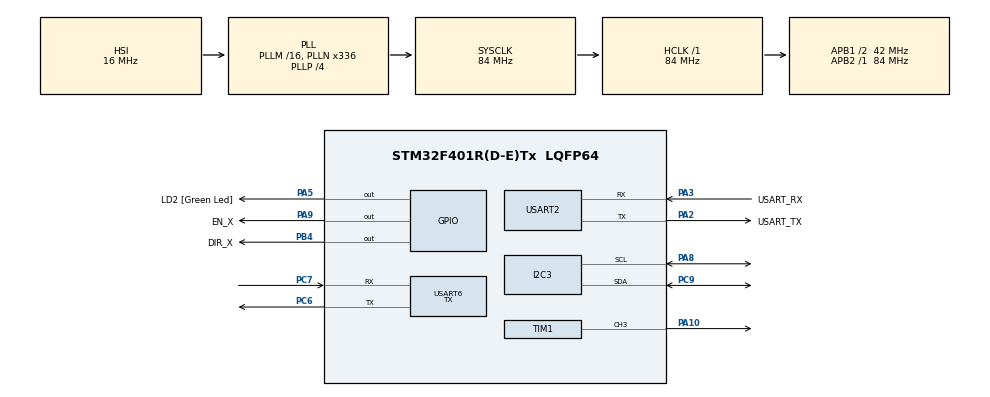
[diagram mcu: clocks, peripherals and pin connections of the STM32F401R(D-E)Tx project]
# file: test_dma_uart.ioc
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Dma.Request0=USART2_RX
Dma.USART2_RX.0.Direction=DMA_PERIPH_TO_MEMORY
Dma.USART2_RX.0.FIFOMode=DMA_FIFOMODE_DISABLE
Dma.USART2_RX.0.Instance=DMA1_Stream5
Dma.USART2_RX.0.MemDataAlignment=DMA_MDATAALIGN_BYTE
Dma.USART2_RX.0.MemInc=DMA_MINC_ENABLE
Dma.USART2_RX.0.Mode=DMA_CIRCULAR
Dma.USART2_RX.0.PeriphDataAlignment=DMA_PDATAALIGN_BYTE
Dma.USART2_RX.0.PeriphInc=DMA_PINC_DISABLE
Dma.USART2_RX.0.Priority=DMA_PRIORITY_HIGH
FREERTOS.Tasks01=defaultTask,-3,128,StartDefaultTask,Default,NULL,Dynamic,NULL,NULL;Parser_task,0,128,Start_Parser_task,Default,NULL,Dynamic,NULL,NULL;Encoder_task,-1,128,Start_Encoder_task,Default,NULL,Dynamic,NULL,NULL
FREERTOS.configUSE_NEWLIB_REENTRANT=1
I2C3.NoStretchMode=I2C_NOSTRETCH_DISABLE
Mcu.Family=STM32F4
Mcu.Name=STM32F401R(D-E)Tx
Mcu.Package=LQFP64
NVIC.DMA1_Stream5_IRQn=true\:5\:0\:false\:false\:true\:true\:false\:true\:true
NVIC.PriorityGroup=NVIC_PRIORITYGROUP_4
NVIC.TIM1_TRG_COM_TIM11_IRQn=true\:5\:0\:false\:false\:true\:false\:true\:true\:true
NVIC.TIM1_UP_TIM10_IRQn=true\:5\:0\:false\:false\:true\:true\:true\:true\:true
NVIC.TIM3_IRQn=true\:15\:0\:false\:false\:true\:false\:false\:true\:true
NVIC.TimeBase=TIM3_IRQn
NVIC.TimeBaseIP=TIM3
NVIC.USART2_IRQn=true\:5\:0\:false\:false\:true\:true\:true\:true\:true
PA10.GPIO_Speed=GPIO_SPEED_FREQ_HIGH
PA10.Signal=S_TIM1_CH3
PA2.GPIO_Label=USART_TX
PA2.GPIO_Mode=GPIO_MODE_AF_PP
PA2.GPIO_PuPd=GPIO_NOPULL
PA2.GPIO_Speed=GPIO_SPEED_FREQ_LOW
PA2.Mode=Asynchronous
PA2.Signal=USART2_TX
PA3.GPIO_Label=USART_RX
PA3.GPIO_Mode=GPIO_MODE_AF_PP
PA3.GPIO_PuPd=GPIO_NOPULL
PA3.GPIO_Speed=GPIO_SPEED_FREQ_LOW
PA3.Mode=Asynchronous
PA3.Signal=USART2_RX
PA5.GPIO_Label=LD2 [Green Led]
PA5.GPIO_Mode=GPIO_MODE_OUTPUT_PP
PA5.GPIO_PuPd=GPIO_NOPULL
PA5.GPIO_Speed=GPIO_SPEED_FREQ_LOW
PA5.Signal=GPIO_Output
PA8.GPIO_Pu=GPIO_PULLUP
PA8.Mode=I2C
PA8.Signal=I2C3_SCL
PA9.GPIO_Label=EN_X
PA9.Signal=GPIO_Output
PB4.GPIO_Label=DIR_X
PB4.Signal=GPIO_Output
PC6.Mode=Asynchronous
PC6.Signal=USART6_TX
PC7.Mode=Asynchronous
PC7.Signal=USART6_RX
PC9.GPIO_Pu=GPIO_PULLUP
PC9.Mode=I2C
PC9.Signal=I2C3_SDA
ProjectManager.HeapSize=0x200
ProjectManager.StackSize=0x400
ProjectManager.TargetToolchain=STM32CubeIDE
RCC.48MHZClocksFreq_Value=48000000
RCC.AHBFreq_Value=84000000
RCC.APB1CLKDivider=RCC_HCLK_DIV2
RCC.APB1Freq_Value=42000000
RCC.APB1TimFreq_Value=84000000
RCC.APB2Freq_Value=84000000
RCC.APB2TimFreq_Value=84000000
RCC.CortexFreq_Value=84000000
RCC.HCLKFreq_Value=84000000
RCC.HSE_VALUE=8000000
RCC.HSI_VALUE=16000000
RCC.LSE_VALUE=32768
RCC.PLLN=336
RCC.PLLP=RCC_PLLP_DIV4
RCC.PLLQ=7
RCC.SYSCLKFreq_VALUE=84000000
RCC.SYSCLKSource=RCC_SYSCLKSOURCE_PLLCLK
RCC.VCOOutputFreq_Value=336000000
SH.S_TIM1_CH3.0=TIM1_CH3,PWM Generation3 CH3
TIM1.AutoReloadPreload=TIM_AUTORELOAD_PRELOAD_ENABLE
TIM1.Channel-PWM\ Generation3\ CH3=TIM_CHANNEL_3
TIM1.OC3Preload_PWM=ENABLE
TIM1.OCFastMode_PWM-PWM\ Generation3\ CH3=TIM_OCFAST_DISABLE
TIM1.OCPolarity_3=TIM_OCPOLARITY_HIGH
TIM1.Prescaler=84
TIM1.Pulse-PWM\ Generation3\ CH3=32767
TIM1.TIM_MasterOutputTrigger=TIM_TRGO_RESET
TIM1.TIM_MasterSlaveMode=TIM_MASTERSLAVEMODE_DISABLE
USART2.VirtualMode=VM_ASYNC
USART6.Mode=MODE_TX
USART6.VirtualMode=VM_ASYNC
VP_FREERTOS_VS_CMSIS_V1.Mode=CMSIS_V1
VP_SYS_VS_tim3.Mode=TIM3
VP_TIM1_VS_ClockSourceINT.Mode=Internal
board=NUCLEO-F401RE

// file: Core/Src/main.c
/* USER CODE BEGIN Header */
/**
  ******************************************************************************
  * @file           : main.c
  * @brief          : Main program body
  ******************************************************************************
  * @attention
  *
  * Copyright (c) 2026 STMicroelectronics.
  * All rights reserved.
  *
  * This software is licensed under terms that can be found in the LICENSE file
  * in the root directory of this software component.
  * If no LICENSE file comes with this software, it is provided AS-IS.
  *
  ******************************************************************************
  */
/* USER CODE END Header */
#include "main.h"
#include "cmsis_os.h"
#include "dma.h"
#include "i2c.h"
#include "tim.h"
#include "usart.h"
#include "gpio.h"

/* USER CODE BEGIN Includes */
#include <stdarg.h>
#include <stdio.h>
#include <ctype.h>
#include "stdlib.h"
#include "string.h"
#include "stepper.h"
#include "gcode_rx.h"
/* USER CODE END Includes */

/* USER CODE BEGIN PTD */
uint8_t rx_buf[BUF_SIZE];
volatile uint16_t rx_head = 0;
static uint16_t old_dma_pos = 0;
/* USER CODE END PTD */

void SystemClock_Config(void);
void MX_FREERTOS_Init(void);

/* USER CODE BEGIN 0 */
int _write(int file, char *ptr, int len)
{
    HAL_UART_Transmit(&huart6, (uint8_t*)ptr, len, HAL_MAX_DELAY);
    return len;
}

void printf2(const char *fmt, ...)
{
    char buffer[256];
    va_list args;
    va_start(args, fmt);
    int len = vsnprintf(buffer, sizeof(buffer), fmt, args);
    va_end(args);

    if (len > 0) {
        HAL_UART_Transmit(&huart2, (uint8_t*)buffer, len, HAL_MAX_DELAY);
    }
}

//void HAL_TIM_PulseFinishedCallback(TIM_HandleTypeDef *htim)
//{
//	if (htim == motor.htim) {
//		Stepper_Tick(&motor);
//	}
//}
/* USER CODE END 0 */

int main(void)
{

  /* MCU Configuration--------------------------------------------------------*/

  /* Reset of all peripherals, Initializes the Flash interface and the Systick. */
  HAL_Init();

  /* Configure the system clock */
  SystemClock_Config();

  /* Initialize all configured peripherals */
  MX_GPIO_Init();
  MX_DMA_Init();
  MX_USART2_UART_Init();
  MX_USART6_UART_Init();
  MX_I2C3_Init();
  MX_TIM1_Init();
  /* USER CODE BEGIN 2 */
  printf("\rSTART\r\n");
  printf2("UART_2_START\r\n");
  HAL_UARTEx_ReceiveToIdle_DMA(&huart2, rx_buf, BUF_SIZE);
  __HAL_DMA_DISABLE_IT(huart2.hdmarx, DMA_IT_HT);
  /* USER CODE END 2 */

  /* Call init function for freertos objects (in cmsis_os2.c) */
  MX_FREERTOS_Init();

  /* Start scheduler */
  osKernelStart();

  /* We should never get here as control is now taken by the scheduler */

  /* Infinite loop */
  while (1)
  {

  }
}

void SystemClock_Config(void)
{
  RCC_OscInitTypeDef RCC_OscInitStruct = {0};
  RCC_ClkInitTypeDef RCC_ClkInitStruct = {0};

  /** Configure the main internal regulator output voltage
  */
  __HAL_RCC_PWR_CLK_ENABLE();
  __HAL_PWR_VOLTAGESCALING_CONFIG(PWR_REGULATOR_VOLTAGE_SCALE2);

  /** Initializes the RCC Oscillators according to the specified parameters
  * in the RCC_OscInitTypeDef structure.
  */
  RCC_OscInitStruct.OscillatorType = RCC_OSCILLATORTYPE_HSI;
  RCC_OscInitStruct.HSIState = RCC_HSI_ON;
  RCC_OscInitStruct.HSICalibrationValue = RCC_HSICALIBRATION_DEFAULT;
  RCC_OscInitStruct.PLL.PLLState = RCC_PLL_ON;
  RCC_OscInitStruct.PLL.PLLSource = RCC_PLLSOURCE_HSI;
  RCC_OscInitStruct.PLL.PLLM = 16;
  RCC_OscInitStruct.PLL.PLLN = 336;
  RCC_OscInitStruct.PLL.PLLP = RCC_PLLP_DIV4;
  RCC_OscInitStruct.PLL.PLLQ = 7;
  if (HAL_RCC_OscConfig(&RCC_OscInitStruct) != HAL_OK)
  {
    Error_Handler();
  }

  /** Initializes the CPU, AHB and APB buses clocks
  */
  RCC_ClkInitStruct.ClockType = RCC_CLOCKTYPE_HCLK|RCC_CLOCKTYPE_SYSCLK
                              |RCC_CLOCKTYPE_PCLK1|RCC_CLOCKTYPE_PCLK2;
  RCC_ClkInitStruct.SYSCLKSource = RCC_SYSCLKSOURCE_PLLCLK;
  RCC_ClkInitStruct.AHBCLKDivider = RCC_SYSCLK_DIV1;
  RCC_ClkInitStruct.APB1CLKDivider = RCC_HCLK_DIV2;
  RCC_ClkInitStruct.APB2CLKDivider = RCC_HCLK_DIV1;

  if (HAL_RCC_ClockConfig(&RCC_ClkInitStruct, FLASH_LATENCY_2) != HAL_OK)
  {
    Error_Handler();
  }
}

/* USER CODE BEGIN 4 */
void HAL_UARTEx_RxEventCallback(UART_HandleTypeDef *huart, uint16_t Size)
{
    if (huart->Instance == USART2)
    {
//        HAL_UART_Transmit(&huart6, rx_buf, Size, HAL_MAX_DELAY);
    	uint16_t dma_pos = BUF_SIZE - __HAL_DMA_GET_COUNTER(huart->hdmarx);

		if (dma_pos != old_dma_pos)
		{
			if (dma_pos > old_dma_pos)
			{
				/* Linear copy */
				gcode_rx_push(&rx_buf[old_dma_pos], dma_pos - old_dma_pos);
			}
			else
			{
				/* Wrapped around */
				gcode_rx_push(&rx_buf[old_dma_pos], BUF_SIZE - old_dma_pos);
				if (dma_pos > 0)
					gcode_rx_push(&rx_buf[0], dma_pos);
			}

			old_dma_pos = dma_pos;
		}

		/* restart RX */
		HAL_UARTEx_ReceiveToIdle_DMA(&huart2, rx_buf, BUF_SIZE);
		__HAL_DMA_DISABLE_IT(huart2.hdmarx, DMA_IT_HT);
    }
}
/* USER CODE END 4 */

void HAL_TIM_PeriodElapsedCallback(TIM_HandleTypeDef *htim)
{
  /* USER CODE BEGIN Callback 0 */
  if (htim->Instance == TIM1) {
    Stepper_Tick(&motor);
  }

  /* USER CODE END Callback 0 */
  if (htim->Instance == TIM3) {
    HAL_IncTick();
  }
}

void Error_Handler(void)
{
  __disable_irq();
  while (1)
  {
  }
}

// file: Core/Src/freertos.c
/* USER CODE BEGIN Header */
/**
  ******************************************************************************
  * File Name          : freertos.c
  * Description        : Code for freertos applications
  ******************************************************************************
  * @attention
  *
  * Copyright (c) 2026 STMicroelectronics.
  * All rights reserved.
  *
  * This software is licensed under terms that can be found in the LICENSE file
  * in the root directory of this software component.
  * If no LICENSE file comes with this software, it is provided AS-IS.
  *
  ******************************************************************************
  */
/* USER CODE END Header */

#include "FreeRTOS.h"
#include "task.h"
#include "main.h"
#include "cmsis_os.h"

/* USER CODE BEGIN Includes */
#include <ctype.h>
#include <stdlib.h>
#include <string.h>
#include <stdio.h>
#include "gcode_rx.h"
#include "usart.h"
#include "as5600_hal.h"
#include "stepper.h"
#include "tim.h"
/* USER CODE END Includes */

/* USER CODE BEGIN Variables */
extern Stepper_t motor;

uint16_t raw;
extern volatile int16_t rotations;
volatile uint16_t hope;
float angle;

static float current_x = 0.0f;
static float feedrate0 = 1000.0f;
static float feedrate1 = 1000.0f;
static float acceleration = 1000.0f;      // mm/s^2 default
static bool absolute_mode = true;  // G90 = true, G91 = false
static float steps_per_mm = 6400.0/360.0f; // one mm <==> one deg
static float inactivity_time = 0.0f; // inactivity time in seconds
static uint32_t idle_time = 0;

/* USER CODE END Variables */
osThreadId defaultTaskHandle;
osThreadId Parser_taskHandle;
osThreadId Encoder_taskHandle;

/* USER CODE BEGIN FunctionPrototypes */
void print_pos()
{
	hope = (int16_t)((float)motor.currPos)*ENCODER_RESOLUTION/FULL_REVOLUTION;
	hope = hope%ENCODER_RESOLUTION;
	int16_t curpos = motor.currPos;
	if(hope < 0)
	{
		hope += ENCODER_RESOLUTION;
	}
//	printf("rot %d  ", rotations);
//	printf("enc %u  ", raw);
//	printf("hope %u  ", hope);
//    printf("pos %d\n", curpos);
}
/* USER CODE END FunctionPrototypes */

void StartDefaultTask(void const * argument);
void Start_Parser_task(void const * argument);
void Start_Encoder_task(void const * argument);

void MX_FREERTOS_Init(void); /* (MISRA C 2004 rule 8.1) */

/* GetIdleTaskMemory prototype (linked to static allocation support) */
void vApplicationGetIdleTaskMemory( StaticTask_t **ppxIdleTaskTCBBuffer, StackType_t **ppxIdleTaskStackBuffer, uint32_t *pulIdleTaskStackSize );

/* USER CODE BEGIN GET_IDLE_TASK_MEMORY */
static StaticTask_t xIdleTaskTCBBuffer;
static StackType_t xIdleStack[configMINIMAL_STACK_SIZE];

void vApplicationGetIdleTaskMemory( StaticTask_t **ppxIdleTaskTCBBuffer, StackType_t **ppxIdleTaskStackBuffer, uint32_t *pulIdleTaskStackSize )
{
  *ppxIdleTaskTCBBuffer = &xIdleTaskTCBBuffer;
  *ppxIdleTaskStackBuffer = &xIdleStack[0];
  *pulIdleTaskStackSize = configMINIMAL_STACK_SIZE;
  /* place for user code */
}
/* USER CODE END GET_IDLE_TASK_MEMORY */

void MX_FREERTOS_Init(void) {

  /* Create the thread(s) */
  /* definition and creation of defaultTask */
  osThreadDef(defaultTask, StartDefaultTask, osPriorityIdle, 0, 128);
  defaultTaskHandle = osThreadCreate(osThread(defaultTask), NULL);

  /* definition and creation of Parser_task */
  osThreadDef(Parser_task, Start_Parser_task, osPriorityNormal, 0, 128);
  Parser_taskHandle = osThreadCreate(osThread(Parser_task), NULL);

  /* definition and creation of Encoder_task */
  osThreadDef(Encoder_task, Start_Encoder_task, osPriorityBelowNormal, 0, 128);
  Encoder_taskHandle = osThreadCreate(osThread(Encoder_task), NULL);

}

void StartDefaultTask(void const * argument)
{
  for(;;)
  {
    osDelay(1);
  }
}

void Start_Parser_task(void const * argument)
{
  /* USER CODE BEGIN Start_Parser_task */

  uint8_t c;
  static char line[96];
  static uint8_t idx = 0;

	void wait_for_stop()
	{
		while(motor.moving){
		  osDelay(10);
		}
	}

	int32_t get_diff()
	{
		int32_t diff = (motor.targetPos - motor.currPos);
		if(diff < 0){diff = -diff;}
		return diff;
	}

	void goto_enc(int32_t target_pos)
	{
		motor.targetPos = target_pos;
		Stepper_get_enc_pos(&motor, &raw);
		int32_t diff = get_diff();
		while(diff > 2)
		{
			print_pos();
			Stepper_MoveTo(&motor, target_pos);
			wait_for_stop();
			print_pos();
			Stepper_get_enc_pos(&motor, &raw);
			print_pos();
			diff = get_diff();
		}
	}

	void demo()
	{
		Stepper_SetSpeed(&motor, 10000);
		Stepper_SetAcceleration(&motor, 200000, 200000);
		int32_t demo_pos = 800;
		for (int i = 0; i < 8; i++)
		{
			goto_enc(demo_pos*(i+1));
			osDelay(200);
		}
		goto_enc(0);
		osDelay(200);
		Stepper_SetSpeed(&motor, 50000);
		goto_enc(64000);
		osDelay(200);
		goto_enc(0);
	}

	void process_gcode_line(char *line)
	{
	    char *p = line;

	    /* Strip comments */
	    for (char *c = line; *c; c++)
	    {
	        if (*c == ';' || *c == '(')
	        {
	            *c = '\0';
	            break;
	        }
	    }

	    if (*p == 'D' && *(p+1) == 'E' && *(p+2) == 'M' && *(p+3) == 'O')
	    {
	    	demo();
	    	return;
	    }

	    while (isspace((unsigned char)*p)) p++;
	    if (*p == '\0')
	        return;

	    int gcode = -1;
	    int mcode = -1;
	    bool has_x = false;
	    bool has_f = false;
	    bool has_s = false;
	    float x_value = 0.0f;
	    float f_value = 0.0f;
	    float s_value = 0.0f;

	    /* Token parsing */
	    while (*p)
	    {
	        if (*p == 'G' || *p == 'g')
	        {
	            p++;
	            gcode = strtol(p, &p, 10);
	        }
	        if (*p == 'M' || *p == 'm')
			{
				p++;
				mcode = strtol(p, &p, 10);
			}
	        else if (*p == 'X' || *p == 'x')
	        {
	            p++;
	            x_value = strtof(p, &p);
	            has_x = true;
	        }
	        else if (*p == 'F' || *p == 'f')
	        {
	            p++;
	            f_value = strtof(p, &p);
	            has_f = true;
	        }
	        else if (*p == 'S' || *p == 's')
	        {
	            p++;
	            s_value = strtof(p, &p);
	            has_s = true;
	        }
	        else
	        {
	            p++;
	        }
	    }

	    switch (gcode)
	    {
	        case 0: /* G0 */
	    	    /* Feedrate is modal */
	    	    if (has_f && f_value > 0.0f)
	    	        feedrate0 = f_value;

	            if (has_x)
	            {
	                float target = absolute_mode ? x_value*steps_per_mm : (current_x + x_value*steps_per_mm);
//	                motion_move_x(target, feedrate);
	                Stepper_SetSpeed(&motor, feedrate0);
	                goto_enc((int32_t)target);
	                current_x = target;
	            }
	            break;

	        case 1: /* G1 */
	    	    /* Feedrate is modal */
	    	    if (has_f && f_value > 0.0f)
	    	        feedrate1 = f_value;

	            if (has_x)
	            {
	                float target = absolute_mode ? x_value*steps_per_mm : (current_x + x_value*steps_per_mm);
//	                motion_move_x(target, feedrate);
	                Stepper_SetSpeed(&motor, feedrate1);
	                goto_enc((int32_t)target);
	                current_x = target;
	            }
	            break;

	        case 28: /* G28 */
	            goto_enc(0);
	            current_x = 0.0f;
	            break;

	        case 90: /* G90 */
	            absolute_mode = true;
	            break;

	        case 91: /* G91 */
	            absolute_mode = false;
	            break;

	        default:
	            break;
	    }

	    switch (mcode)
	    {
			case 80: /* M80 power on*/
				Stepper_Enable(&motor);
				break;

			case 81: /* M81 power on*/
				Stepper_Disable(&motor);
				break;

			case 85: /* M85 inactivity shutdown period */
				if (has_s && s_value >= 0.0f)
				{
					inactivity_time = s_value;
				}
				break;

	    	case 92: /* M92 set steps per mm*/
				if (has_x)
				{
					if (x_value < 1)
						x_value = 1;
					steps_per_mm = x_value;
				}
				break;

	        case 204: /* M204 - Set acceleration */
	            if (has_s && s_value > 0.0f)
	            {
	                acceleration = s_value;
	                Stepper_SetAcceleration(&motor, acceleration, acceleration);
	            }
	            break;

	        default:
	        	break;
	    }
	}

	motor.DIR_Port  = GPIOB;
	motor.DIR_Pin   = GPIO_PIN_4;
	motor.EN_Port   = GPIOA;
	motor.EN_Pin    = GPIO_PIN_9;
	motor.htim      = &htim1;
	motor.tim_channel = TIM_CHANNEL_3;

	// INIT MOTOR
	Stepper_Init(&motor);
	// MOTOR TIMER
//	HAL_TIM_PWM_Start_IT(&htim1, TIM_CHANNEL_3);
	Stepper_SetSpeed(&motor, 1000.0f);
	Stepper_SetAcceleration(&motor, 1000.0f, 1000.0f);
	osDelay(100);
	print_pos();

	goto_enc(0);
	rotations = 0;
//	Stepper_Disable(&motor);
  /* Infinite loop */
  for(;;)
  {
	  while (gcode_rx_get_char(&c))
	  {
	     if (c == '\r')
		 {
		    /* Ignore CR */
		    continue;
		 }
	     if (c == '\n')
	     {
	        line[idx] = 0;
//	        HAL_UART_Transmit(&huart6, (uint8_t*)line, idx, HAL_MAX_DELAY);
	        wait_for_stop();
	        process_gcode_line(line);
	        idx = 0;
	     }
	     else if (idx < sizeof(line) - 1)
	     {
	        line[idx++] = c;
	     }
	     idle_time = 0;
	  }

	  if (motor.moving == 0)
	  {
		  Stepper_get_enc_pos(&motor, &raw);
		  int32_t idle_diff = get_diff();
		  if (idle_diff < 0) idle_diff = -idle_diff;
		  if (idle_diff > 5)
		  {
			  goto_enc(current_x);
			  idle_time = 0;
		  }
	  }
	  idle_time += 10;
	  if (inactivity_time != 0 && (inactivity_time*1000) < idle_time) Stepper_Disable(&motor);
    osDelay(10);
  }
  /* USER CODE END Start_Parser_task */
}

void Start_Encoder_task(void const * argument)
{
  /* USER CODE BEGIN Start_Encoder_task */
  /* Infinite loop */
	  for(;;)
	  {
	//	  AS5600_ReadRaw12(&raw);
		  uint16_t old_raw = raw;
		  if (AS5600_ReadRaw12(&raw))
		  {
//			  printf("%u\r\n", raw);  // wypisz samą wartość surową
	////		  printf("%f\r\n", raw2angle(raw));
			  if(raw < 1000 && old_raw > 3000)
			  {
				  rotations = rotations + 1;
			  }
			  if(old_raw < 1000 && raw > 3000)
			  {
				  rotations = rotations - 1;
			  }
		  }
		  else
		  {
			  printf("error\r\n");
		  }
		  osDelay(10);
	  }
  /* USER CODE END Start_Encoder_task */
}
